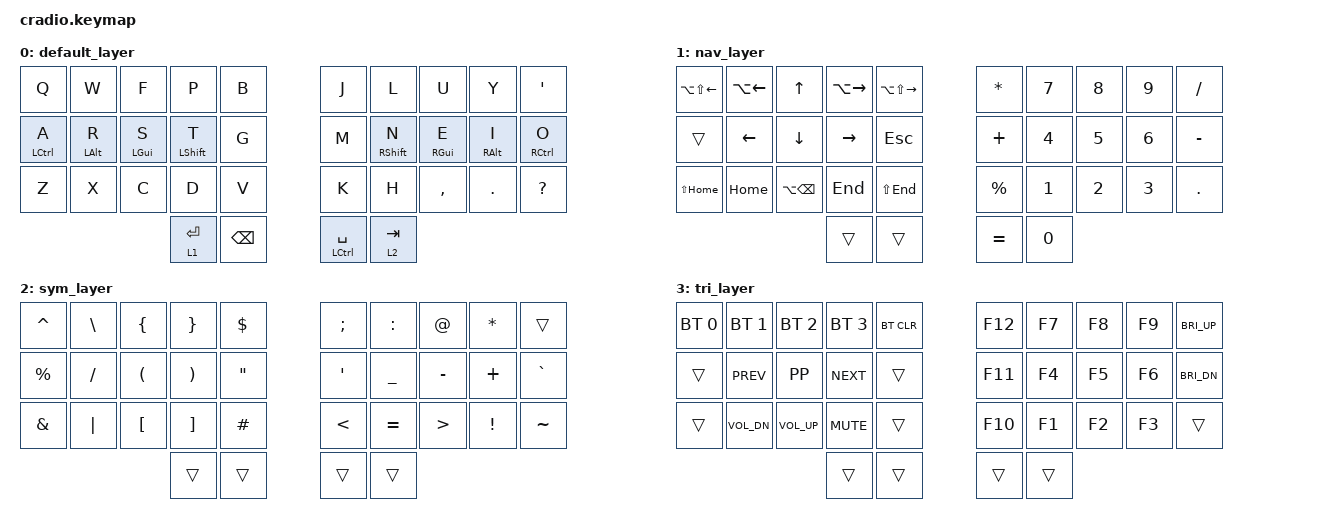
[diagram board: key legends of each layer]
#include <behaviors.dtsi>
#include <dt-bindings/zmk/keys.h>
#include <dt-bindings/zmk/bt.h>


&mt {
  	flavor = "tap-preferred";
	tapping_term_ms = <300>;
};

/ {

    behaviors {
        hml: home_row_mod_left {
            compatible = "zmk,behavior-hold-tap";
            #binding-cells = <2>;
            flavor = "balanced";
            tapping-term-ms = <280>;
            quick-tap-ms = <175>;
            require-prior-idle-ms = <150>;
            bindings = <&kp>, <&kp>;
            hold-trigger-key-positions = <5 6 7 8 9 15 16 17 18 19 25 26 27 28 29 30 31 32 33>;
            hold-trigger-on-release;
        };

        hmr: home_row_mod_right {
            compatible = "zmk,behavior-hold-tap";
            #binding-cells = <2>;
            flavor = "balanced";
            tapping-term-ms = <280>;
            quick-tap-ms = <175>;
            require-prior-idle-ms = <150>;
            bindings = <&kp>, <&kp>;
            hold-trigger-key-positions = <0 1 2 3 4 10 11 12 13 14 20 21 22 23 24 30 31 32 33>;
            hold-trigger-on-release;
        };
    };

    combos {
        compatible = "zmk,combos";
        combo_esc {
            timeout-ms = <50>;
            key-positions = <0 1>;
            bindings = <&kp ESC>;
        };
    };

    conditional_layers {
        compatible = "zmk,conditional-layers";
        tri_layer {
            if-layers = <1 2>;
            then-layer = <3>;
        };
    };

        keymap {
                compatible = "zmk,keymap";

       		default_layer {
		bindings = <
        &kp Q        &kp W       &kp F       &kp P        &kp B    &kp J &kp L        &kp U       &kp Y       &kp SQT
        &hml LCTRL A &hml LALT R &hml LGUI S &hml LSHFT T &kp G    &kp M &hmr RSHFT N &hmr RGUI E &hmr RALT I &hmr RCTRL O
        &kp Z        &kp X       &kp C       &kp D        &kp V    &kp K &kp H        &kp COMMA   &kp DOT     &kp QMARK
                                 &lt 1 ENTER &kp BSPC              &mt LCTL SPACE &lt 2 TAB
        >;
        };

       		nav_layer {
		bindings = <
        &kp LA(LS(LEFT)) &kp LA(LEFT) &kp UP       &kp LA(RIGHT) &kp LA(LS(RIGHT))   &kp STAR  &kp N7 &kp N8 &kp N9 &kp SLASH
        &trans           &kp LEFT     &kp DOWN     &kp RIGHT     &kp ESC             &kp PLUS  &kp N4 &kp N5 &kp N6 &kp MINUS
        &kp LS(HOME)     &kp HOME     &kp LA(BSPC) &kp END       &kp LS(END)         &kp PRCNT &kp N1 &kp N2 &kp N3 &kp DOT
                                                   &trans        &trans              &kp EQUAL &kp N0
		>;
		};

			sym_layer {
		bindings = <
        &kp CARET &kp BSLH  &kp LBRC &kp RBRC &kp DLLR    &kp SEMI  &kp COLN  &kp AT    &kp STAR  &trans
        &kp PRCNT &kp SLASH &kp LPAR &kp RPAR &kp DQT     &kp APOS  &kp UNDER &kp MINUS &kp PLUS  &kp GRAVE
        &kp AMPS  &kp PIPE  &kp LBKT &kp RBKT &kp HASH    &kp LT    &kp EQUAL &kp GT    &kp EXCL  &kp TILDE
                                     &trans   &trans      &trans    &trans
		>;
		};

			tri_layer {
		bindings = <
        &bt BT_SEL 0 &bt BT_SEL 1 &bt BT_SEL 2 &bt BT_SEL 3 &bt BT_CLR     &kp F12 &kp F7 &kp F8 &kp F9 &kp C_BRI_UP
        &trans       &kp K_PREV   &kp K_PP     &kp K_NEXT   &trans         &kp F11 &kp F4 &kp F5 &kp F6 &kp C_BRI_DN
        &trans       &kp K_VOL_DN &kp K_VOL_UP &kp K_MUTE   &trans         &kp F10 &kp F1 &kp F2 &kp F3 &trans
                                               &trans       &trans         &trans  &trans
		>;
		};

	};
};
